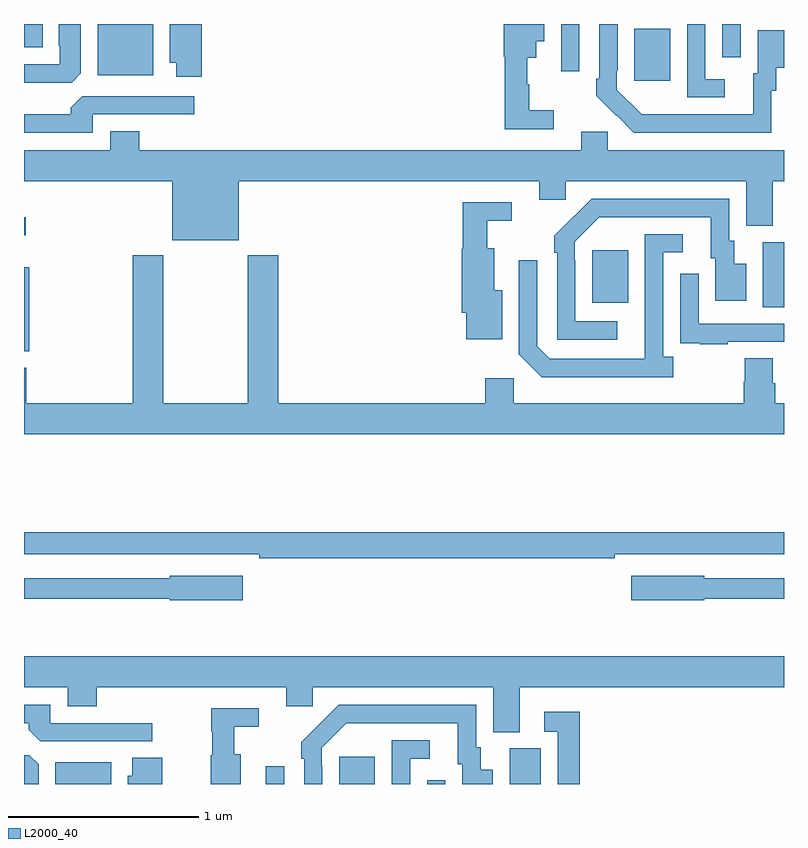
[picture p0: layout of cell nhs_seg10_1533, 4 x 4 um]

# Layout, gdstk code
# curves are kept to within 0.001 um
import gdstk
lib = gdstk.Library(unit=1e-6, precision=1e-09)
def R(c, l, rs):  # rectangles x0, y0, x1, y1
    for r in rs: c.add(gdstk.rectangle(r[:2], r[2:], *l))
def P(c, l, *ps):  # polygons
    for p in ps: c.add(gdstk.Polygon(p, *l))
L2000_40 = (2000, 40)

nhs_seg10_1533 = lib.new_cell('nhs_seg10_1533')
R(nhs_seg10_1533, L2000_40, [(191.165,1274.5,191.458,1274.614), (192.273,1274.5,192.369,1274.593), (192.659,1274.5,192.847,1274.644), (193.122,1274.5,193.218,1274.521), (193.556,1274.5,193.72,1274.688), (191,1276.777,191.027,1277.221), (194.888,1277.008,195,1277.352), (193.991,1277.033,194.179,1277.308), (191,1277.388,191.008,1277.484), (194.213,1278.201,194.401,1278.475), (191.387,1278.23,191.68,1278.5), (193.827,1278.252,193.923,1278.5), (194.676,1278.324,194.772,1278.5), (191,1278.377,191.098,1278.5)])
P(nhs_seg10_1533, L2000_40, [(191.936,1278.5),(191.768,1278.5),(191.768,1278.296),(191.801,1278.296),(191.801,1278.222),(191.936,1278.222)],
  [(191.299,1278.241),(191.299,1278.5),(191.183,1278.5),(191.183,1278.385),(191.187,1278.385),(191.187,1278.288),(191,1278.288),(191,1278.192),(191.25,1278.192)],
  [(194.689,1278.21),(194.586,1278.21),(194.586,1278.5),(194.49,1278.5),(194.49,1278.114),(194.689,1278.114)],
  [(193.789,1278.047),(193.66,1278.047),(193.66,1278.183),(193.649,1278.183),(193.649,1278.323),(193.696,1278.323),(193.696,1278.41),(193.738,1278.41),(193.738,1278.5),(193.526,1278.5),(193.526,1278.327),(193.531,1278.327),(193.531,1277.946),(193.789,1277.946)],
  [(194.934,1278.15),(194.959,1278.15),(194.959,1278.269),(195,1278.269),(195,1278.466),(194.861,1278.466),(194.861,1278.24),(194.837,1278.24),(194.837,1278.024),(194.25,1278.025),(194.121,1278.153),(194.121,1278.253),(194.124,1278.253),(194.124,1278.5),(194.028,1278.5),(194.028,1278.211),(194.013,1278.211),(194.013,1278.123),(194.21,1277.928),(194.934,1277.928)],
  [(191.361,1278.024),(191.896,1278.024),(191.896,1278.12),(191.307,1278.12),(191.246,1278.058),(191.246,1278.024),(191,1278.024),(191,1277.928),(191.361,1277.928)],
  [(192.13,1277.672),(193.712,1277.672),(193.712,1277.574),(193.851,1277.574),(193.851,1277.672),(194.801,1277.672),(194.801,1277.437),(194.941,1277.437),(194.941,1277.672),(195,1277.672),(195,1277.836),(194.073,1277.836),(194.073,1277.934),(193.934,1277.934),(193.934,1277.836),(191.606,1277.836),(191.606,1277.935),(191.453,1277.935),(191.453,1277.836),(191,1277.836),(191,1277.672),(191.78,1277.672),(191.78,1277.363),(192.13,1277.363)],
  [(194.122,1276.935),(193.902,1276.935),(193.902,1277.255),(193.899,1277.255),(193.899,1277.355),(194.028,1277.484),(194.615,1277.484),(194.615,1277.268),(194.639,1277.268),(194.639,1277.043),(194.8,1277.043),(194.8,1277.239),(194.737,1277.239),(194.737,1277.358),(194.712,1277.358),(194.712,1277.58),(193.988,1277.58),(193.791,1277.385),(193.791,1277.297),(193.806,1277.297),(193.806,1276.839),(194.122,1276.839)],
  [(193.516,1277.098),(193.474,1277.098),(193.474,1277.32),(193.438,1277.32),(193.438,1277.465),(193.567,1277.465),(193.567,1277.562),(193.309,1277.562),(193.309,1277.316),(193.304,1277.316),(193.304,1276.98),(193.328,1276.98),(193.328,1276.841),(193.516,1276.841)],
  [(194.416,1276.75),(194.364,1276.75),(194.364,1277.298),(194.467,1277.298),(194.467,1277.394),(194.268,1277.394),(194.267,1276.737),(193.767,1276.737),(193.701,1276.803),(193.701,1277.257),(193.605,1277.257),(193.605,1276.761),(193.726,1276.64),(194.416,1276.64)],
  [(195,1276.504),(194.954,1276.504),(194.954,1276.61),(194.941,1276.61),(194.941,1276.742),(194.794,1276.742),(194.794,1276.617),(194.789,1276.617),(194.789,1276.504),(193.578,1276.504),(193.578,1276.636),(193.427,1276.636),(193.427,1276.504),(192.338,1276.504),(192.338,1277.284),(192.178,1277.284),(192.178,1276.504),(191.733,1276.504),(191.733,1277.284),(191.573,1277.284),(191.573,1276.504),(191.012,1276.504),(191.012,1276.692),(191,1276.692),(191,1276.34),(195,1276.34)],
  [(194.705,1276.827),(195,1276.827),(195,1276.923),(194.55,1276.923),(194.55,1277.185),(194.454,1277.185),(194.454,1276.93),(194.455,1276.93),(194.455,1276.821),(194.557,1276.821),(194.557,1276.815),(194.705,1276.815)],
  [(194.108,1275.708),(195,1275.708),(195,1275.824),(191,1275.824),(191,1275.708),(192.238,1275.708),(192.238,1275.688),(194.108,1275.688)],
  [(192.151,1275.595),(191.766,1275.595),(191.766,1275.582),(191,1275.582),(191,1275.474),(191.766,1275.474),(191.766,1275.466),(192.151,1275.466)],
  [(194.58,1275.474),(195,1275.474),(195,1275.582),(194.58,1275.582),(194.58,1275.595),(194.196,1275.595),(194.196,1275.466),(194.58,1275.466)],
  [(193.609,1275.008),(195,1275.008),(195,1275.172),(191,1275.172),(191,1275.008),(191.231,1275.008),(191.231,1274.909),(191.384,1274.909),(191.384,1275.008),(192.38,1275.008),(192.38,1274.91),(192.519,1274.91),(192.519,1275.008),(193.469,1275.008),(193.469,1274.773),(193.609,1274.773)],
  [(192.57,1274.591),(192.567,1274.591),(192.567,1274.691),(192.696,1274.82),(193.283,1274.82),(193.283,1274.604),(193.307,1274.604),(193.307,1274.5),(193.468,1274.5),(193.468,1274.575),(193.405,1274.575),(193.405,1274.694),(193.38,1274.694),(193.38,1274.916),(192.656,1274.916),(192.459,1274.721),(192.459,1274.633),(192.474,1274.633),(192.474,1274.5),(192.57,1274.5)],
  [(191.674,1274.82),(191.139,1274.82),(191.139,1274.916),(191,1274.916),(191,1274.82),(191.024,1274.82),(191.024,1274.786),(191.085,1274.724),(191.674,1274.724)],
  [(192.142,1274.656),(192.106,1274.656),(192.106,1274.801),(192.235,1274.801),(192.235,1274.898),(191.985,1274.898),(191.985,1274.774),(191.992,1274.774),(191.992,1274.652),(191.984,1274.652),(191.984,1274.5),(192.142,1274.5)],
  [(193.925,1274.881),(193.737,1274.881),(193.737,1274.775),(193.809,1274.775),(193.809,1274.5),(193.925,1274.5)],
  [(193.032,1274.634),(193.135,1274.634),(193.135,1274.73),(192.936,1274.73),(192.936,1274.5),(193.032,1274.5)],
  [(191.077,1274.603),(191.028,1274.652),(191,1274.652),(191,1274.5),(191.077,1274.5)],
  [(191.728,1274.639),(191.57,1274.639),(191.57,1274.544),(191.546,1274.544),(191.546,1274.5),(191.728,1274.5)])

lib.write_gds('nhs_seg10_1533.gds')
